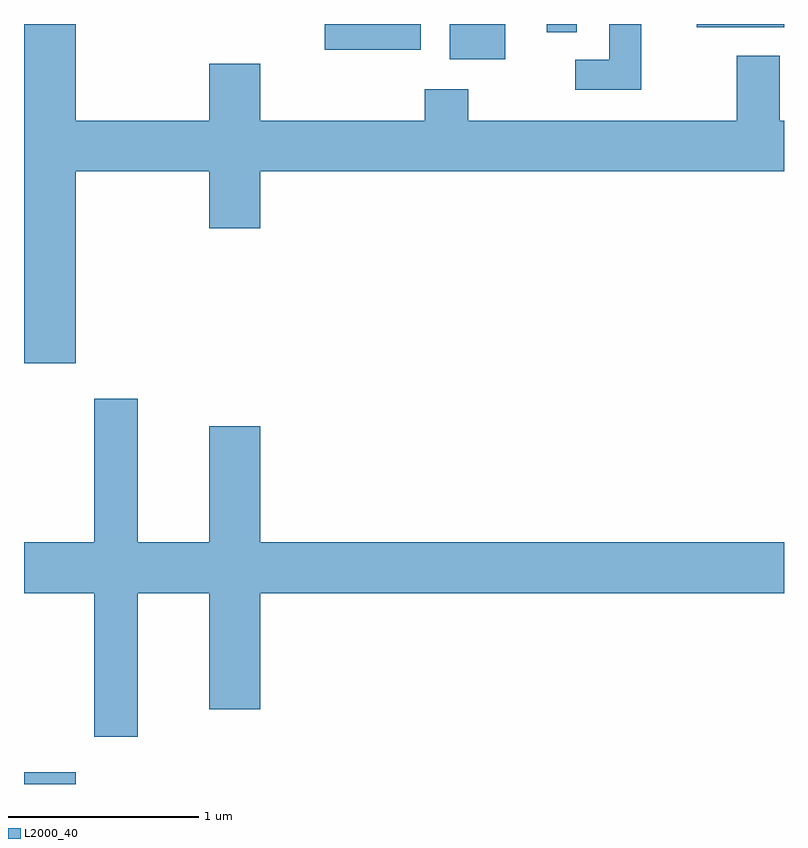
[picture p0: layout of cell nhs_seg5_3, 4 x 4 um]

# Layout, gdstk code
import gdstk
lib = gdstk.Library(unit=1e-6, precision=1e-09)
def R(c, l, rs):  # rectangles x0, y0, x1, y1
    for r in rs: c.add(gdstk.rectangle(r[:2], r[2:], *l))
def P(c, l, *ps):  # polygons
    for p in ps: c.add(gdstk.Polygon(p, *l))
L2000_40 = (2000, 40)

nhs_seg5_3 = lib.new_cell('nhs_seg5_3')
R(nhs_seg5_3, L2000_40, [(185.611,1398.072,185.884,1398.134), (187.851,1401.886,188.144,1402.072), (187.193,1401.936,187.699,1402.072), (188.361,1402.028,188.519,1402.072), (189.151,1402.056,189.611,1402.072)])
P(nhs_seg5_3, L2000_40, [(185.884,1401.296),(186.586,1401.296),(186.586,1400.996),(186.854,1400.996),(186.854,1401.296),(189.611,1401.296),(189.611,1401.564),(189.589,1401.564),(189.589,1401.904),(189.361,1401.904),(189.361,1401.564),(187.949,1401.564),(187.949,1401.729),(187.721,1401.729),(187.721,1401.564),(186.854,1401.564),(186.854,1401.864),(186.586,1401.864),(186.586,1401.564),(185.884,1401.564),(185.884,1402.072),(185.611,1402.072),(185.611,1400.286),(185.884,1400.286)],
  [(188.859,1402.072),(188.691,1402.072),(188.691,1401.884),(188.513,1401.884),(188.513,1401.726),(188.859,1401.726)],
  [(186.209,1399.076),(186.586,1399.076),(186.586,1398.466),(186.854,1398.466),(186.854,1399.076),(189.611,1399.076),(189.611,1399.344),(186.854,1399.344),(186.854,1399.954),(186.586,1399.954),(186.586,1399.344),(186.209,1399.344),(186.209,1400.099),(185.981,1400.099),(185.981,1399.344),(185.611,1399.344),(185.611,1399.076),(185.981,1399.076),(185.981,1398.321),(186.209,1398.321)])

lib.write_gds('nhs_seg5_3.gds')
